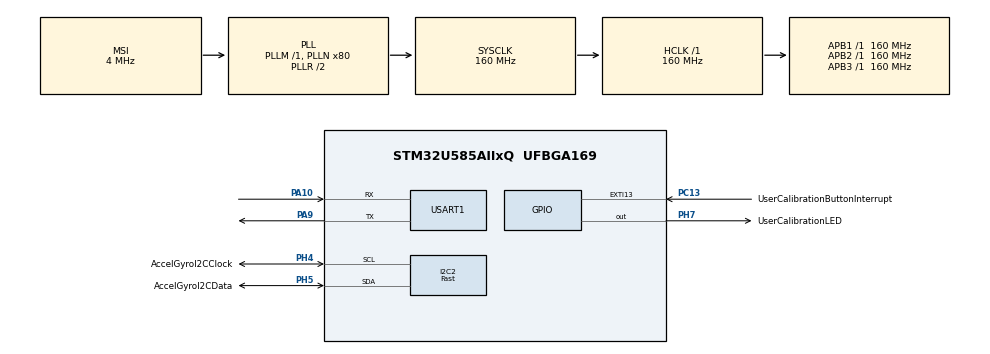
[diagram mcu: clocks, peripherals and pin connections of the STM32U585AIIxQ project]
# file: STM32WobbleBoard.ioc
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CORTEX_M33_NS.userName=CORTEX_M33
GPDMA1.CIRCULARMODE_GPDMACH5=ENABLE
GPDMA1.RECAP_GPDMACH5=GPDMA1_REQUEST_USART1
I2C2.I2C_Speed_Mode=I2C_Fast
I2C2.Timing=0x00F07BFF
Mcu.Family=STM32U5
Mcu.Name=STM32U585AIIxQ
Mcu.Package=UFBGA169
NVIC.EXTI13_IRQn=true\:1\:0\:true\:false\:true\:true\:true
NVIC.PriorityGroup=NVIC_PRIORITYGROUP_4
NVIC.TIM15_IRQn=true\:0\:0\:false\:false\:true\:true\:true
PA10.Mode=Asynchronous
PA10.Signal=USART1_RX
PA9.Mode=Asynchronous
PA9.Signal=USART1_TX
PC13.GPIO_Label=UserCalibrationButtonInterrupt
PC13.Signal=GPXTI13
PC14-OSC32_IN\ (PC14).Mode=LSE-External-Oscillator
PC14-OSC32_IN\ (PC14).Signal=RCC_OSC32_IN
PC15-OSC32_OUT\ (PC15).Mode=LSE-External-Oscillator
PC15-OSC32_OUT\ (PC15).Signal=RCC_OSC32_OUT
PH0-OSC_IN\ (PH0).Mode=HSE-External-Oscillator
PH0-OSC_IN\ (PH0).Signal=RCC_OSC_IN
PH1-OSC_OUT\ (PH1).Mode=HSE-External-Oscillator
PH1-OSC_OUT\ (PH1).Signal=RCC_OSC_OUT
PH4.GPIO_Label=AccelGyroI2CClock
PH4.Mode=I2C
PH4.Signal=I2C2_SCL
PH5.GPIO_Label=AccelGyroI2CData
PH5.Mode=I2C
PH5.Signal=I2C2_SDA
PH7.GPIO_Label=UserCalibrationLED
PH7.Signal=GPIO_Output
ProjectManager.HeapSize=0x200
ProjectManager.StackSize=0x400
ProjectManager.TargetToolchain=STM32CubeIDE
RCC.AHBFreq_Value=160000000
RCC.APB1Freq_Value=160000000
RCC.APB1TimFreq_Value=160000000
RCC.APB2Freq_Value=160000000
RCC.APB2TimFreq_Value=160000000
RCC.APB3Freq_Value=160000000
RCC.CortexFreq_Value=160000000
RCC.DACCLockSelectionVirtual=RCC_DAC1CLKSOURCE_LSI
RCC.DACCLockSelectionVirtualString=RCC_DAC1CLKSOURCE_LSI
RCC.EPOD_VALUE=4000000
RCC.HCLKFreq_Value=160000000
RCC.HSE_VALUE=16000000
RCC.HSI48_VALUE=48000000
RCC.HSI_VALUE=16000000
RCC.LSIDIV_VALUE=32000
RCC.MSI_VALUE=4000000
RCC.PLLN=80
RCC.SYSCLKFreq_VALUE=160000000
RCC.SYSCLKSource=RCC_SYSCLKSOURCE_PLLCLK
RCC.USBFreq_Value=48000000
RCC.VCOOutputFreq_Value=320000000
USART1.VirtualMode-Asynchronous=VM_ASYNC
VP_CRC_VS_CRC.Mode=CRC_Activate
VP_GPDMA1_VS_GPDMACH5.Mode=SIMPLEREQUEST_GPDMACH5
VP_PWR_VS_DBSignals.Mode=DisableDeadBatterySignals
VP_PWR_VS_SECSignals.Mode=Security/Privilege
VP_RTC_VS_RTC_Activate.Mode=RTC_Enabled
VP_RTC_VS_RTC_Calendar.Mode=RTC_Calendar
VP_TIM15_VS_ClockSourceINT.Mode=Internal
board=B-U585I-IOT02A

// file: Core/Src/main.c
/* USER CODE BEGIN Header */
/**
  ******************************************************************************
  * @file           : main.c
  * @brief          : Main program body
  ******************************************************************************
  * @attention
  *
  * Copyright (c) 2022 STMicroelectronics.
  * All rights reserved.
  *
  * This software is licensed under terms that can be found in the LICENSE file
  * in the root directory of this software component.
  * If no LICENSE file comes with this software, it is provided AS-IS.
  *
  ******************************************************************************
  */
/* USER CODE END Header */
#include "main.h"
#include "crc.h"
#include "gpdma.h"
#include "i2c.h"
#include "rtc.h"
#include "tim.h"
#include "usart.h"
#include "gpio.h"

/* USER CODE BEGIN Includes */

#include "app_mems.h"

/* USER CODE END Includes */

/* USER CODE BEGIN PV */
static volatile int iIsUserCalibrationLEDOn = 0;
UART_HandleTypeDef huart1;
/* USER CODE END PV */

void SystemClock_Config(void);

int main(void)
{

  /* MCU Configuration--------------------------------------------------------*/

  /* Reset of all peripherals, Initializes the Flash interface and the Systick. */
  HAL_Init();

  /* Configure the system clock */
  SystemClock_Config();

  /* Initialize all configured peripherals */
  MX_GPIO_Init();
  MX_USART1_UART_Init();
  MX_I2C2_Init();
  MX_TIM15_Init();
  MX_RTC_Init();
  MX_GPDMA1_Init();
  MX_CRC_Init();
  /* USER CODE BEGIN 2 */
  MX_MEMS_Init();
  /* USER CODE END 2 */

  /* Infinite loop */
  /* USER CODE BEGIN WHILE */
  while (1)
  {
	  MX_MEMS_Process();
    /* USER CODE END WHILE */

  }
}

void SystemClock_Config(void)
{
  RCC_OscInitTypeDef RCC_OscInitStruct = {0};
  RCC_ClkInitTypeDef RCC_ClkInitStruct = {0};

  /** Configure the main internal regulator output voltage
  */
  if (HAL_PWREx_ControlVoltageScaling(PWR_REGULATOR_VOLTAGE_SCALE1) != HAL_OK)
  {
    Error_Handler();
  }
  /** Initializes the CPU, AHB and APB busses clocks
  */
  RCC_OscInitStruct.OscillatorType = RCC_OSCILLATORTYPE_LSI|RCC_OSCILLATORTYPE_MSI;
  RCC_OscInitStruct.LSIState = RCC_LSI_ON;
  RCC_OscInitStruct.MSIState = RCC_MSI_ON;
  RCC_OscInitStruct.MSICalibrationValue = RCC_MSICALIBRATION_DEFAULT;
  RCC_OscInitStruct.MSIClockRange = RCC_MSIRANGE_4;
  RCC_OscInitStruct.LSIDiv = RCC_LSI_DIV1;
  RCC_OscInitStruct.PLL.PLLState = RCC_PLL_ON;
  RCC_OscInitStruct.PLL.PLLSource = RCC_PLLSOURCE_MSI;
  RCC_OscInitStruct.PLL.PLLMBOOST = RCC_PLLMBOOST_DIV1;
  RCC_OscInitStruct.PLL.PLLM = 1;
  RCC_OscInitStruct.PLL.PLLN = 80;
  RCC_OscInitStruct.PLL.PLLP = 2;
  RCC_OscInitStruct.PLL.PLLQ = 2;
  RCC_OscInitStruct.PLL.PLLR = 2;
  RCC_OscInitStruct.PLL.PLLRGE = RCC_PLLVCIRANGE_0;
  RCC_OscInitStruct.PLL.PLLFRACN = 0;
  if (HAL_RCC_OscConfig(&RCC_OscInitStruct) != HAL_OK)
  {
    Error_Handler();
  }
  /** Initializes the CPU, AHB and APB busses clocks
  */
  RCC_ClkInitStruct.ClockType = RCC_CLOCKTYPE_HCLK|RCC_CLOCKTYPE_SYSCLK
                              |RCC_CLOCKTYPE_PCLK1|RCC_CLOCKTYPE_PCLK2
                              |RCC_CLOCKTYPE_PCLK3;
  RCC_ClkInitStruct.SYSCLKSource = RCC_SYSCLKSOURCE_PLLCLK;
  RCC_ClkInitStruct.AHBCLKDivider = RCC_SYSCLK_DIV1;
  RCC_ClkInitStruct.APB1CLKDivider = RCC_HCLK_DIV1;
  RCC_ClkInitStruct.APB2CLKDivider = RCC_HCLK_DIV1;
  RCC_ClkInitStruct.APB3CLKDivider = RCC_HCLK_DIV1;

  if (HAL_RCC_ClockConfig(&RCC_ClkInitStruct, FLASH_LATENCY_4) != HAL_OK)
  {
    Error_Handler();
  }
  __HAL_RCC_PWR_CLK_DISABLE();
}

/* USER CODE BEGIN 4 */
// When the button's signal goes from a low to a high state
// which is what happens when you push a button
// See: https://www.arduino.cc/en/Tutorial/BuiltInExamples/StateChangeDetection
// for an explanation on edge detection
void HAL_GPIO_EXTI_Rising_Callback(uint16_t GPIO_Pin)
{
	if(GPIO_Pin == UserCalibrationButtonInterrupt_Pin)
	{
		// TODO:  Send data via BLE virtual COM port to bring up or
		// close down the user calibration screen

		uint8_t* cMessage = (uint8_t*)"";

		// Turn user green LED on/off
		if(iIsUserCalibrationLEDOn == 0)
		{
			iIsUserCalibrationLEDOn = 1;
			cMessage = (uint8_t*)"Request User Calibration Mode\n\0";
		}
		else
		{
			iIsUserCalibrationLEDOn = 0;
			cMessage = (uint8_t*)"Unrequest User Calibration Mode\n\0";
		}

		// Send the message via virtual COM port
		// It uses the UART1 of STLINK's virtual com port and we
		// are transmitting the serial data with this call
		uint16_t iMessageLength = (uint16_t)strlen(cMessage);
		if(HAL_UART_Transmit(&huart1, cMessage, iMessageLength, 100) != HAL_OK)
		{
			Error_Handler();
		}

		HAL_GPIO_WritePin(UserCalibrationLED_GPIO_Port, UserCalibrationLED_Pin, iIsUserCalibrationLEDOn);
	}
}

/* USER CODE END 4 */

void Error_Handler(void)
{
  __disable_irq();
  while (1)
  {
  }
}
